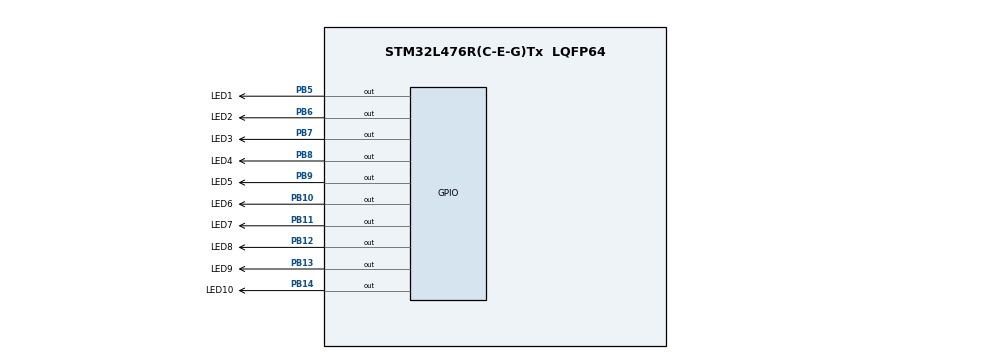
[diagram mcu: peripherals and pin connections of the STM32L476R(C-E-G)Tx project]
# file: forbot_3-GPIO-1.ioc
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Mcu.Family=STM32L4
Mcu.Name=STM32L476R(C-E-G)Tx
Mcu.Package=LQFP64
NVIC.PriorityGroup=NVIC_PRIORITYGROUP_4
PB10.GPIO_Label=LED6
PB10.Signal=GPIO_Output
PB11.GPIO_Label=LED7
PB11.Signal=GPIO_Output
PB12.GPIO_Label=LED8
PB12.Signal=GPIO_Output
PB13.GPIO_Label=LED9
PB13.Signal=GPIO_Output
PB14.GPIO_Label=LED10
PB14.Signal=GPIO_Output
PB5.GPIO_Label=LED1
PB5.Signal=GPIO_Output
PB6.GPIO_Label=LED2
PB6.Signal=GPIO_Output
PB7.GPIO_Label=LED3
PB7.Signal=GPIO_Output
PB8.GPIO_Label=LED4
PB8.Signal=GPIO_Output
PB9.GPIO_Label=LED5
PB9.Signal=GPIO_Output
ProjectManager.HeapSize=0x200
ProjectManager.StackSize=0x400
ProjectManager.TargetToolchain=STM32CubeIDE
RCC.HSE_VALUE=8000000
RCC.HSI_VALUE=16000000
RCC.LSE_VALUE=32768
RCC.MSI_VALUE=4000000
RCC.VCOOutputFreq_Value=32000000
board=custom

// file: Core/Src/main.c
/* USER CODE BEGIN Header */
/**
  ******************************************************************************
  * @file           : main.c
  * @brief          : Main program body
  ******************************************************************************
  * @attention
  *
  * Copyright (c) 2022 STMicroelectronics.
  * All rights reserved.
  *
  * This software is licensed under terms that can be found in the LICENSE file
  * in the root directory of this software component.
  * If no LICENSE file comes with this software, it is provided AS-IS.
  *
  ******************************************************************************
  */
/* USER CODE END Header */
#include "main.h"

/* USER CODE BEGIN Includes */
#include <stdbool.h>
/* USER CODE END Includes */

/* USER CODE BEGIN PV */

typedef struct {
	GPIO_TypeDef* port;
	uint16_t pin;
}pin_t;

static const pin_t LED[] = {
		{ LED1_GPIO_Port, LED1_Pin },
		{ LED2_GPIO_Port, LED2_Pin },
		{ LED3_GPIO_Port, LED3_Pin },
		{ LED4_GPIO_Port, LED4_Pin },
		{ LED5_GPIO_Port, LED5_Pin },
		{ LED6_GPIO_Port, LED6_Pin },
		{ LED7_GPIO_Port, LED7_Pin },
		{ LED8_GPIO_Port, LED8_Pin },
		{ LED9_GPIO_Port, LED9_Pin },
		{ LED10_GPIO_Port, LED10_Pin },
};

/* USER CODE END PV */

void SystemClock_Config(void);
static void MX_GPIO_Init(void);

/* USER CODE BEGIN 0 */
void led_set(int led, bool turn_on)
{
		GPIO_PinState state = (turn_on) ? GPIO_PIN_SET : GPIO_PIN_RESET;

		if (led >= 0 && led < 10) {
			HAL_GPIO_WritePin(LED[led].port, LED[led].pin, state);
		}

}
/* USER CODE END 0 */

int main(void)
{

  /* MCU Configuration--------------------------------------------------------*/

  /* Reset of all peripherals, Initializes the Flash interface and the Systick. */
  HAL_Init();

  /* Configure the system clock */
  SystemClock_Config();

  /* Initialize all configured peripherals */
  MX_GPIO_Init();

  /* Infinite loop */
  while (1)
  {

    /* USER CODE BEGIN 3 */

	  for (int i = 0; i < 10; i++) {
	      // zapal diodę
	      led_set(i, true);
	      // poczekaj 100 ms
	      HAL_Delay(100);
	      // zgaś diodę
	      led_set(i, false);
	    }

  }
  /* USER CODE END 3 */
}

void SystemClock_Config(void)
{
  RCC_OscInitTypeDef RCC_OscInitStruct = {0};
  RCC_ClkInitTypeDef RCC_ClkInitStruct = {0};

  /** Configure the main internal regulator output voltage
  */
  if (HAL_PWREx_ControlVoltageScaling(PWR_REGULATOR_VOLTAGE_SCALE1) != HAL_OK)
  {
    Error_Handler();
  }
  /** Initializes the RCC Oscillators according to the specified parameters
  * in the RCC_OscInitTypeDef structure.
  */
  RCC_OscInitStruct.OscillatorType = RCC_OSCILLATORTYPE_MSI;
  RCC_OscInitStruct.MSIState = RCC_MSI_ON;
  RCC_OscInitStruct.MSICalibrationValue = 0;
  RCC_OscInitStruct.MSIClockRange = RCC_MSIRANGE_6;
  RCC_OscInitStruct.PLL.PLLState = RCC_PLL_NONE;
  if (HAL_RCC_OscConfig(&RCC_OscInitStruct) != HAL_OK)
  {
    Error_Handler();
  }
  /** Initializes the CPU, AHB and APB buses clocks
  */
  RCC_ClkInitStruct.ClockType = RCC_CLOCKTYPE_HCLK|RCC_CLOCKTYPE_SYSCLK
                              |RCC_CLOCKTYPE_PCLK1|RCC_CLOCKTYPE_PCLK2;
  RCC_ClkInitStruct.SYSCLKSource = RCC_SYSCLKSOURCE_MSI;
  RCC_ClkInitStruct.AHBCLKDivider = RCC_SYSCLK_DIV1;
  RCC_ClkInitStruct.APB1CLKDivider = RCC_HCLK_DIV1;
  RCC_ClkInitStruct.APB2CLKDivider = RCC_HCLK_DIV1;

  if (HAL_RCC_ClockConfig(&RCC_ClkInitStruct, FLASH_LATENCY_0) != HAL_OK)
  {
    Error_Handler();
  }
}

static void MX_GPIO_Init(void)
{
  GPIO_InitTypeDef GPIO_InitStruct = {0};

  /* GPIO Ports Clock Enable */
  __HAL_RCC_GPIOB_CLK_ENABLE();

  /*Configure GPIO pin Output Level */
  HAL_GPIO_WritePin(GPIOB, LED6_Pin|LED7_Pin|LED8_Pin|LED9_Pin
                          |LED10_Pin|LED1_Pin|LED2_Pin|LED3_Pin
                          |LED4_Pin|LED5_Pin, GPIO_PIN_RESET);

  /*Configure GPIO pins : LED6_Pin LED7_Pin LED8_Pin LED9_Pin
                           LED10_Pin LED1_Pin LED2_Pin LED3_Pin
                           LED4_Pin LED5_Pin */
  GPIO_InitStruct.Pin = LED6_Pin|LED7_Pin|LED8_Pin|LED9_Pin
                          |LED10_Pin|LED1_Pin|LED2_Pin|LED3_Pin
                          |LED4_Pin|LED5_Pin;
  GPIO_InitStruct.Mode = GPIO_MODE_OUTPUT_PP;
  GPIO_InitStruct.Pull = GPIO_NOPULL;
  GPIO_InitStruct.Speed = GPIO_SPEED_FREQ_LOW;
  HAL_GPIO_Init(GPIOB, &GPIO_InitStruct);

}

void Error_Handler(void)
{
  __disable_irq();
  while (1)
  {
  }
}
